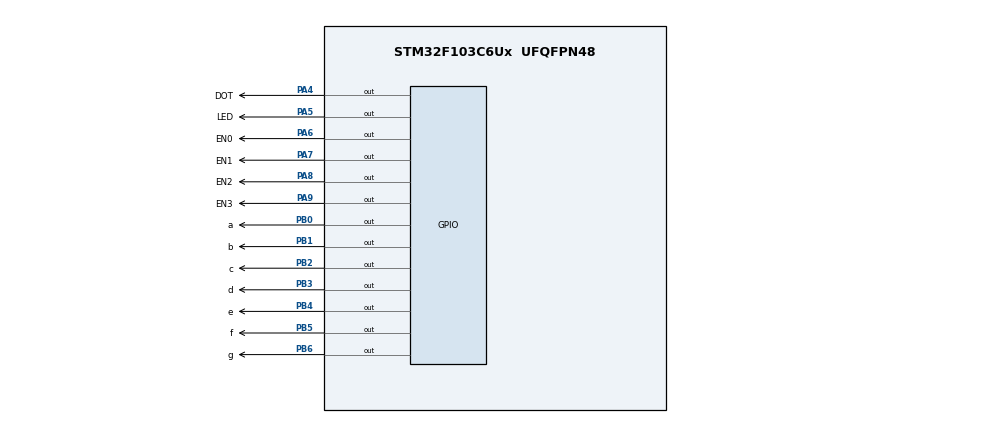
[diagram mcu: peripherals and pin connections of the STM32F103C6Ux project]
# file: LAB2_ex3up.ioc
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Mcu.Family=STM32F1
Mcu.Name=STM32F103C6Ux
Mcu.Package=UFQFPN48
NVIC.PriorityGroup=NVIC_PRIORITYGROUP_4
NVIC.TIM2_IRQn=true\:0\:0\:false\:false\:true\:true\:true
PA4.GPIO_Label=DOT
PA4.Signal=GPIO_Output
PA5.GPIO_Label=LED
PA5.Signal=GPIO_Output
PA6.GPIO_Label=EN0
PA6.Signal=GPIO_Output
PA7.GPIO_Label=EN1
PA7.Signal=GPIO_Output
PA8.GPIO_Label=EN2
PA8.Signal=GPIO_Output
PA9.GPIO_Label=EN3
PA9.Signal=GPIO_Output
PB0.GPIO_Label=a
PB0.Signal=GPIO_Output
PB1.GPIO_Label=b
PB1.Signal=GPIO_Output
PB2.GPIO_Label=c
PB2.Signal=GPIO_Output
PB3.GPIO_Label=d
PB3.Signal=GPIO_Output
PB4.GPIO_Label=e
PB4.Signal=GPIO_Output
PB5.GPIO_Label=f
PB5.Signal=GPIO_Output
PB6.GPIO_Label=g
PB6.Signal=GPIO_Output
ProjectManager.HeapSize=0x200
ProjectManager.StackSize=0x400
ProjectManager.TargetToolchain=STM32CubeIDE
RCC.APB1Freq_Value=8000000
RCC.APB2Freq_Value=8000000
TIM2.Period=9
TIM2.Prescaler=7999
VP_SYS_VS_ND.Mode=No_Debug
VP_TIM2_VS_ClockSourceINT.Mode=Internal
board=custom

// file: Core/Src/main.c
/* USER CODE BEGIN Header */
/**
  ******************************************************************************
  * @file           : main.c
  * @brief          : Main program body
  ******************************************************************************
  * @attention
  *
  * <h2><center>&copy; Copyright (c) 2025 STMicroelectronics.
  * All rights reserved.</center></h2>
  *
  * This software component is licensed by ST under BSD 3-Clause license,
  * the "License"; You may not use this file except in compliance with the
  * License. You may obtain a copy of the License at:
  *                        opensource.org/licenses/BSD-3-Clause
  *
  ******************************************************************************
  */
/* USER CODE END Header */
#include "main.h"

TIM_HandleTypeDef htim2;

void SystemClock_Config(void);
static void MX_GPIO_Init(void);
static void MX_TIM2_Init(void);

typedef struct {uint8_t a,b,c,d,e,f,g;} SEG7; // dung cho LED
	SEG7 numbers[10] = { //1 = on, 0 = off
			{1,1,1,1,1,1,0}, //0
			{0,1,1,0,0,0,0}, //1
			{1,1,0,1,1,0,1}, //2
			{1,1,1,1,0,0,1}, //3
			{0,1,1,0,0,1,1}, //4
			{1,0,1,1,0,1,1}, //5
			{1,0,1,1,1,1,1}, //6
			{1,1,1,0,0,0,0}, //7
			{1,1,1,1,1,1,1}, //8
			{1,1,1,1,0,1,1}, //9
		};

void display7SEG(int num){
	SEG7 n = numbers[num];

	HAL_GPIO_WritePin(GPIOB, GPIO_PIN_0, n.a ? GPIO_PIN_RESET : GPIO_PIN_SET); // n.a = 1 thi on, khong thi off
	HAL_GPIO_WritePin(GPIOB, GPIO_PIN_1, n.b ? GPIO_PIN_RESET : GPIO_PIN_SET);
	HAL_GPIO_WritePin(GPIOB, GPIO_PIN_2, n.c ? GPIO_PIN_RESET : GPIO_PIN_SET);
	HAL_GPIO_WritePin(GPIOB, GPIO_PIN_3, n.d ? GPIO_PIN_RESET : GPIO_PIN_SET);
	HAL_GPIO_WritePin(GPIOB, GPIO_PIN_4, n.e ? GPIO_PIN_RESET : GPIO_PIN_SET);
	HAL_GPIO_WritePin(GPIOB, GPIO_PIN_5, n.f ? GPIO_PIN_RESET : GPIO_PIN_SET);
	HAL_GPIO_WritePin(GPIOB, GPIO_PIN_6, n.g ? GPIO_PIN_RESET : GPIO_PIN_SET);
}

const int MAX_LED = 4;
int index_led = 0;
int led_buffer[4] = {1,2,3,4}; // change numbers
void update7SEG(int index){
	switch (index){
	case 0:
		//Display the first 7SEG with led_buffer[0]
		display7SEG(led_buffer[0]);
		HAL_GPIO_WritePin(EN0_GPIO_Port, EN0_Pin, GPIO_PIN_RESET);
		HAL_GPIO_WritePin(EN1_GPIO_Port, EN1_Pin, GPIO_PIN_SET);
		HAL_GPIO_WritePin(EN2_GPIO_Port, EN2_Pin, GPIO_PIN_SET);
		HAL_GPIO_WritePin(EN3_GPIO_Port, EN3_Pin, GPIO_PIN_SET);
		break;
	case 1:
		//Display the second 7SEG with led_buffer[1]
		display7SEG(led_buffer[1]);
		HAL_GPIO_WritePin(EN0_GPIO_Port, EN0_Pin, GPIO_PIN_SET);
		HAL_GPIO_WritePin(EN1_GPIO_Port, EN1_Pin, GPIO_PIN_RESET);
		HAL_GPIO_WritePin(EN2_GPIO_Port, EN2_Pin, GPIO_PIN_SET);
		HAL_GPIO_WritePin(EN3_GPIO_Port, EN3_Pin, GPIO_PIN_SET);
		break;
	case 2:
		//Display the third 7SEG with led_buffer[2]
		display7SEG(led_buffer[2]);
		HAL_GPIO_WritePin(EN0_GPIO_Port, EN0_Pin, GPIO_PIN_SET);
		HAL_GPIO_WritePin(EN1_GPIO_Port, EN1_Pin, GPIO_PIN_SET);
		HAL_GPIO_WritePin(EN2_GPIO_Port, EN2_Pin, GPIO_PIN_RESET);
		HAL_GPIO_WritePin(EN3_GPIO_Port, EN3_Pin, GPIO_PIN_SET);
		break;
	case 3:
		//Display the forth 7SEG with led_buffer[3]
		display7SEG(led_buffer[3]);
		HAL_GPIO_WritePin(EN0_GPIO_Port, EN0_Pin, GPIO_PIN_SET);
		HAL_GPIO_WritePin(EN1_GPIO_Port, EN1_Pin, GPIO_PIN_SET);
		HAL_GPIO_WritePin(EN2_GPIO_Port, EN2_Pin, GPIO_PIN_SET);
		HAL_GPIO_WritePin(EN3_GPIO_Port, EN3_Pin, GPIO_PIN_RESET);
		break;
	default:
		HAL_GPIO_WritePin(EN0_GPIO_Port, EN0_Pin, GPIO_PIN_SET);
		HAL_GPIO_WritePin(EN1_GPIO_Port, EN1_Pin, GPIO_PIN_SET);
		HAL_GPIO_WritePin(EN2_GPIO_Port, EN2_Pin, GPIO_PIN_SET);
		HAL_GPIO_WritePin(EN3_GPIO_Port, EN3_Pin, GPIO_PIN_SET);
		break;
	}
}

int main(void)
{

  /* MCU Configuration--------------------------------------------------------*/

  /* Reset of all peripherals, Initializes the Flash interface and the Systick. */
  HAL_Init();

  /* Configure the system clock */
  SystemClock_Config();

  /* Initialize all configured peripherals */
  MX_GPIO_Init();
  MX_TIM2_Init();
  /* USER CODE BEGIN 2 */
 HAL_TIM_Base_Start_IT(&htim2);
  /* USER CODE END 2 */

  /* Infinite loop */
  while (1)
  {
  }
}

void SystemClock_Config(void)
{
  RCC_OscInitTypeDef RCC_OscInitStruct = {0};
  RCC_ClkInitTypeDef RCC_ClkInitStruct = {0};

  /** Initializes the RCC Oscillators according to the specified parameters
  * in the RCC_OscInitTypeDef structure.
  */
  RCC_OscInitStruct.OscillatorType = RCC_OSCILLATORTYPE_HSI;
  RCC_OscInitStruct.HSIState = RCC_HSI_ON;
  RCC_OscInitStruct.HSICalibrationValue = RCC_HSICALIBRATION_DEFAULT;
  RCC_OscInitStruct.PLL.PLLState = RCC_PLL_NONE;
  if (HAL_RCC_OscConfig(&RCC_OscInitStruct) != HAL_OK)
  {
    Error_Handler();
  }
  /** Initializes the CPU, AHB and APB buses clocks
  */
  RCC_ClkInitStruct.ClockType = RCC_CLOCKTYPE_HCLK|RCC_CLOCKTYPE_SYSCLK
                              |RCC_CLOCKTYPE_PCLK1|RCC_CLOCKTYPE_PCLK2;
  RCC_ClkInitStruct.SYSCLKSource = RCC_SYSCLKSOURCE_HSI;
  RCC_ClkInitStruct.AHBCLKDivider = RCC_SYSCLK_DIV1;
  RCC_ClkInitStruct.APB1CLKDivider = RCC_HCLK_DIV1;
  RCC_ClkInitStruct.APB2CLKDivider = RCC_HCLK_DIV1;

  if (HAL_RCC_ClockConfig(&RCC_ClkInitStruct, FLASH_LATENCY_0) != HAL_OK)
  {
    Error_Handler();
  }
}

static void MX_TIM2_Init(void)
{

  TIM_ClockConfigTypeDef sClockSourceConfig = {0};
  TIM_MasterConfigTypeDef sMasterConfig = {0};

  htim2.Instance = TIM2;
  htim2.Init.Prescaler = 7999;
  htim2.Init.CounterMode = TIM_COUNTERMODE_UP;
  htim2.Init.Period = 9;
  htim2.Init.ClockDivision = TIM_CLOCKDIVISION_DIV1;
  htim2.Init.AutoReloadPreload = TIM_AUTORELOAD_PRELOAD_DISABLE;
  if (HAL_TIM_Base_Init(&htim2) != HAL_OK)
  {
    Error_Handler();
  }
  sClockSourceConfig.ClockSource = TIM_CLOCKSOURCE_INTERNAL;
  if (HAL_TIM_ConfigClockSource(&htim2, &sClockSourceConfig) != HAL_OK)
  {
    Error_Handler();
  }
  sMasterConfig.MasterOutputTrigger = TIM_TRGO_RESET;
  sMasterConfig.MasterSlaveMode = TIM_MASTERSLAVEMODE_DISABLE;
  if (HAL_TIMEx_MasterConfigSynchronization(&htim2, &sMasterConfig) != HAL_OK)
  {
    Error_Handler();
  }

}

static void MX_GPIO_Init(void)
{
  GPIO_InitTypeDef GPIO_InitStruct = {0};

  /* GPIO Ports Clock Enable */
  __HAL_RCC_GPIOA_CLK_ENABLE();
  __HAL_RCC_GPIOB_CLK_ENABLE();

  /*Configure GPIO pin Output Level */
  HAL_GPIO_WritePin(GPIOA, DOT_Pin|LED_Pin|EN0_Pin|EN1_Pin
                          |EN2_Pin|EN3_Pin, GPIO_PIN_RESET);

  /*Configure GPIO pin Output Level */
  HAL_GPIO_WritePin(GPIOB, a_Pin|b_Pin|c_Pin|d_Pin
                          |e_Pin|f_Pin|g_Pin, GPIO_PIN_RESET);

  /*Configure GPIO pins : DOT_Pin LED_Pin EN0_Pin EN1_Pin
                           EN2_Pin EN3_Pin */
  GPIO_InitStruct.Pin = DOT_Pin|LED_Pin|EN0_Pin|EN1_Pin
                          |EN2_Pin|EN3_Pin;
  GPIO_InitStruct.Mode = GPIO_MODE_OUTPUT_PP;
  GPIO_InitStruct.Pull = GPIO_NOPULL;
  GPIO_InitStruct.Speed = GPIO_SPEED_FREQ_LOW;
  HAL_GPIO_Init(GPIOA, &GPIO_InitStruct);

  /*Configure GPIO pins : a_Pin b_Pin c_Pin d_Pin
                           e_Pin f_Pin g_Pin */
  GPIO_InitStruct.Pin = a_Pin|b_Pin|c_Pin|d_Pin
                          |e_Pin|f_Pin|g_Pin;
  GPIO_InitStruct.Mode = GPIO_MODE_OUTPUT_PP;
  GPIO_InitStruct.Pull = GPIO_NOPULL;
  GPIO_InitStruct.Speed = GPIO_SPEED_FREQ_LOW;
  HAL_GPIO_Init(GPIOB, &GPIO_InitStruct);

}

/* USER CODE BEGIN 4 */

		// EX3
int counter = 200;
int counter_DOT = 0;
 void HAL_TIM_PeriodElapsedCallback(TIM_HandleTypeDef *htim)
 {
	 if (counter == 200){
		 update7SEG(index_led++);
	  }
	 else if (counter == 150){
		 update7SEG(index_led++);
	  }
	 else if (counter == 100){
		 update7SEG(index_led++);
	 }
	 else if (counter == 50){
		 update7SEG(index_led++);
	 }
	  index_led = (index_led < MAX_LED) ? index_led : 0;
	  counter = (counter > 0) ? counter - 1 : 200;

	  if (counter_DOT >= 100){
		  counter_DOT = 0;
		  HAL_GPIO_TogglePin(DOT_GPIO_Port, DOT_Pin);
	  }
	  counter_DOT++;
 }

 /*
 	 	 // EX4
 int counter = 100;
 int counter_DOT = 0;
  void HAL_TIM_PeriodElapsedCallback(TIM_HandleTypeDef *htim)
  {
 	 if (counter == 100){
 		 update7SEG(index_led++);
 	  }
 	 else if (counter == 75){
 		 update7SEG(index_led++);
 	  }
 	 else if (counter == 50){
 		 update7SEG(index_led++);
 	 }
 	 else if (counter == 25){
 		 update7SEG(index_led++);
 	 }
 	  index_led = (index_led < MAX_LED) ? index_led : 0;
 	  counter = (counter > 0) ? counter - 1 : 25;

 	  if (counter_DOT >= 100){
 		  counter_DOT = 0;
 		  HAL_GPIO_TogglePin(DOT_GPIO_Port, DOT_Pin);
 	  }
 	  counter_DOT++;
  }
  */
/* USER CODE END 4 */

void Error_Handler(void)
{
  __disable_irq();
  while (1)
  {
  }
}

/************************ (C) COPYRIGHT STMicroelectronics *****END OF FILE****/
